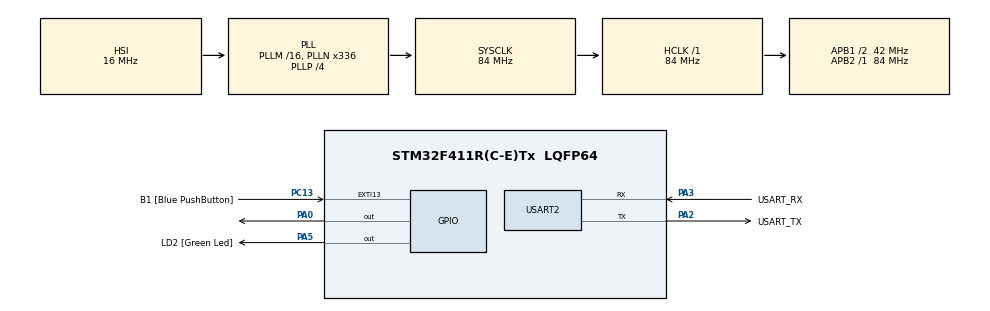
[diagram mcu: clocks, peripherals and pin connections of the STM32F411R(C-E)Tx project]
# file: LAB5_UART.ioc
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Dma.Request0=USART2_RX
Dma.Request1=USART2_TX
Dma.USART2_RX.0.Direction=DMA_PERIPH_TO_MEMORY
Dma.USART2_RX.0.FIFOMode=DMA_FIFOMODE_DISABLE
Dma.USART2_RX.0.Instance=DMA1_Stream5
Dma.USART2_RX.0.MemDataAlignment=DMA_MDATAALIGN_BYTE
Dma.USART2_RX.0.MemInc=DMA_MINC_ENABLE
Dma.USART2_RX.0.Mode=DMA_CIRCULAR
Dma.USART2_RX.0.PeriphDataAlignment=DMA_PDATAALIGN_BYTE
Dma.USART2_RX.0.PeriphInc=DMA_PINC_DISABLE
Dma.USART2_RX.0.Priority=DMA_PRIORITY_LOW
Dma.USART2_TX.1.Direction=DMA_MEMORY_TO_PERIPH
Dma.USART2_TX.1.FIFOMode=DMA_FIFOMODE_DISABLE
Dma.USART2_TX.1.Instance=DMA1_Stream6
Dma.USART2_TX.1.MemDataAlignment=DMA_MDATAALIGN_BYTE
Dma.USART2_TX.1.MemInc=DMA_MINC_ENABLE
Dma.USART2_TX.1.Mode=DMA_NORMAL
Dma.USART2_TX.1.PeriphDataAlignment=DMA_PDATAALIGN_BYTE
Dma.USART2_TX.1.PeriphInc=DMA_PINC_DISABLE
Dma.USART2_TX.1.Priority=DMA_PRIORITY_LOW
Mcu.Family=STM32F4
Mcu.Name=STM32F411R(C-E)Tx
Mcu.Package=LQFP64
NVIC.DMA1_Stream5_IRQn=true\:0\:0\:false\:false\:true\:false\:true\:true
NVIC.DMA1_Stream6_IRQn=true\:0\:0\:false\:false\:true\:false\:true\:true
NVIC.PriorityGroup=NVIC_PRIORITYGROUP_0
NVIC.USART2_IRQn=true\:0\:0\:false\:false\:true\:true\:true\:true
PA0-WKUP.Signal=GPIO_Output
PA13.GPIO_Label=TMS
PA13.Mode=Serial_Wire
PA13.Signal=SYS_JTMS-SWDIO
PA14.GPIO_Label=TCK
PA14.Mode=Serial_Wire
PA14.Signal=SYS_JTCK-SWCLK
PA2.GPIO_Label=USART_TX
PA2.Mode=Asynchronous
PA2.Signal=USART2_TX
PA3.GPIO_Label=USART_RX
PA3.Mode=Asynchronous
PA3.Signal=USART2_RX
PA5.GPIO_Label=LD2 [Green Led]
PA5.Signal=GPIO_Output
PB3.GPIO_Label=SWO
PB3.Signal=SYS_JTDO-SWO
PC13-ANTI_TAMP.GPIO_Label=B1 [Blue PushButton]
PC13-ANTI_TAMP.GPIO_ModeDefaultEXTI=GPIO_MODE_IT_FALLING
PC13-ANTI_TAMP.Signal=GPXTI13
PC14-OSC32_IN.Mode=LSE-External-Oscillator
PC14-OSC32_IN.Signal=RCC_OSC32_IN
PC15-OSC32_OUT.Mode=LSE-External-Oscillator
PC15-OSC32_OUT.Signal=RCC_OSC32_OUT
PH0\ -\ OSC_IN.Mode=HSE-External-Clock-Source
PH0\ -\ OSC_IN.Signal=RCC_OSC_IN
PH1\ -\ OSC_OUT.Mode=HSE-External-Clock-Source
PH1\ -\ OSC_OUT.Signal=RCC_OSC_OUT
ProjectManager.HeapSize=0x200
ProjectManager.StackSize=0x400
ProjectManager.TargetToolchain=STM32CubeIDE
RCC.48MHZClocksFreq_Value=84000000
RCC.AHBFreq_Value=84000000
RCC.APB1CLKDivider=RCC_HCLK_DIV2
RCC.APB1Freq_Value=42000000
RCC.APB1TimFreq_Value=84000000
RCC.APB2Freq_Value=84000000
RCC.APB2TimFreq_Value=84000000
RCC.CortexFreq_Value=84000000
RCC.FLatency-AdvancedSettings=FLASH_LATENCY_2
RCC.HCLKFreq_Value=84000000
RCC.HSE_VALUE=8000000
RCC.HSI_VALUE=16000000
RCC.PLLN=336
RCC.PLLP=RCC_PLLP_DIV4
RCC.SYSCLKFreq_VALUE=84000000
RCC.SYSCLKSource=RCC_SYSCLKSOURCE_PLLCLK
RCC.VCOOutputFreq_Value=336000000
USART2.VirtualMode=VM_ASYNC
board=NUCLEO-F411RE

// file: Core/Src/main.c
/* USER CODE BEGIN Header */
/**
  ******************************************************************************
  * @file           : main.c
  * @brief          : Main program body
  ******************************************************************************
  * @attention
  *
  * Copyright (c) 2023 STMicroelectronics.
  * All rights reserved.
  *
  * This software is licensed under terms that can be found in the LICENSE file
  * in the root directory of this software component.
  * If no LICENSE file comes with this software, it is provided AS-IS.
  *
  ******************************************************************************
  */
/* USER CODE END Header */
#include "main.h"

/* USER CODE BEGIN Includes */
#include "stdio.h"
#include "string.h"
/* USER CODE END Includes */

UART_HandleTypeDef huart2;
DMA_HandleTypeDef hdma_usart2_rx;
DMA_HandleTypeDef hdma_usart2_tx;

/* USER CODE BEGIN PV */
uint8_t current = 1;
uint8_t before = 0;
GPIO_PinState Button1;

uint8_t RxBuffer[1];
uint8_t TxBuffer[200];
uint8_t modecontrol = 'x';
uint8_t checkstate = 1;
uint8_t LEDfrequency = 1;
int a = 0;
int round = 0;
/* USER CODE END PV */

void SystemClock_Config(void);
static void MX_GPIO_Init(void);
static void MX_DMA_Init(void);
static void MX_USART2_UART_Init(void);
/* USER CODE BEGIN PFP */
void CheckRising();
void DummyTask();
void UARTDMAConfig();
void mainmenu();
void detailscase0();
void detailscase1();
void functionstate();
/* USER CODE END PFP */

int main(void)
{

  /* MCU Configuration--------------------------------------------------------*/

  /* Reset of all peripherals, Initializes the Flash interface and the Systick. */
  HAL_Init();

  /* Configure the system clock */
  SystemClock_Config();

  /* Initialize all configured peripherals */
  MX_GPIO_Init();
  MX_DMA_Init();
  MX_USART2_UART_Init();
  /* USER CODE BEGIN 2 */
  Button1 = HAL_GPIO_ReadPin(GPIOC, GPIO_PIN_13);
  UARTDMAConfig();

  /* USER CODE END 2 */

  /* Infinite loop */
  /* USER CODE BEGIN WHILE */
  while (1)
  {
	  DummyTask();
	  functionstate();
	  if(round%2 == 1)
	  {
		  HAL_GPIO_WritePin(LD2_GPIO_Port,LD2_Pin, RESET);
		  RxBuffer[0] = '\0';
//		  sprintf((char*)TxBuffer,"LED OFF %s\r\n", RxBuffer);
//		  HAL_UART_Transmit_DMA(&huart2, TxBuffer, strlen((char*)TxBuffer));
	  }
	  else if(round%2 == 0)
	  {
		  DummyTask();
		  RxBuffer[0] = '\0';
//		  sprintf((char*)TxBuffer,"LED ON %s\r\n", RxBuffer);
//		  HAL_UART_Transmit_DMA(&huart2, TxBuffer, strlen((char*)TxBuffer));
	  }
	  HAL_GPIO_TogglePin(GPIOA, GPIO_PIN_0);

    /* USER CODE END WHILE */

  }
}

void SystemClock_Config(void)
{
  RCC_OscInitTypeDef RCC_OscInitStruct = {0};
  RCC_ClkInitTypeDef RCC_ClkInitStruct = {0};

  /** Configure the main internal regulator output voltage
  */
  __HAL_RCC_PWR_CLK_ENABLE();
  __HAL_PWR_VOLTAGESCALING_CONFIG(PWR_REGULATOR_VOLTAGE_SCALE1);

  /** Initializes the RCC Oscillators according to the specified parameters
  * in the RCC_OscInitTypeDef structure.
  */
  RCC_OscInitStruct.OscillatorType = RCC_OSCILLATORTYPE_HSI;
  RCC_OscInitStruct.HSIState = RCC_HSI_ON;
  RCC_OscInitStruct.HSICalibrationValue = RCC_HSICALIBRATION_DEFAULT;
  RCC_OscInitStruct.PLL.PLLState = RCC_PLL_ON;
  RCC_OscInitStruct.PLL.PLLSource = RCC_PLLSOURCE_HSI;
  RCC_OscInitStruct.PLL.PLLM = 16;
  RCC_OscInitStruct.PLL.PLLN = 336;
  RCC_OscInitStruct.PLL.PLLP = RCC_PLLP_DIV4;
  RCC_OscInitStruct.PLL.PLLQ = 4;
  if (HAL_RCC_OscConfig(&RCC_OscInitStruct) != HAL_OK)
  {
    Error_Handler();
  }

  /** Initializes the CPU, AHB and APB buses clocks
  */
  RCC_ClkInitStruct.ClockType = RCC_CLOCKTYPE_HCLK|RCC_CLOCKTYPE_SYSCLK
                              |RCC_CLOCKTYPE_PCLK1|RCC_CLOCKTYPE_PCLK2;
  RCC_ClkInitStruct.SYSCLKSource = RCC_SYSCLKSOURCE_PLLCLK;
  RCC_ClkInitStruct.AHBCLKDivider = RCC_SYSCLK_DIV1;
  RCC_ClkInitStruct.APB1CLKDivider = RCC_HCLK_DIV2;
  RCC_ClkInitStruct.APB2CLKDivider = RCC_HCLK_DIV1;

  if (HAL_RCC_ClockConfig(&RCC_ClkInitStruct, FLASH_LATENCY_2) != HAL_OK)
  {
    Error_Handler();
  }
}

static void MX_USART2_UART_Init(void)
{

  huart2.Instance = USART2;
  huart2.Init.BaudRate = 115200;
  huart2.Init.WordLength = UART_WORDLENGTH_8B;
  huart2.Init.StopBits = UART_STOPBITS_1;
  huart2.Init.Parity = UART_PARITY_NONE;
  huart2.Init.Mode = UART_MODE_TX_RX;
  huart2.Init.HwFlowCtl = UART_HWCONTROL_NONE;
  huart2.Init.OverSampling = UART_OVERSAMPLING_16;
  if (HAL_UART_Init(&huart2) != HAL_OK)
  {
    Error_Handler();
  }

}

static void MX_DMA_Init(void)
{

  /* DMA controller clock enable */
  __HAL_RCC_DMA1_CLK_ENABLE();

  /* DMA interrupt init */
  /* DMA1_Stream5_IRQn interrupt configuration */
  HAL_NVIC_SetPriority(DMA1_Stream5_IRQn, 0, 0);
  HAL_NVIC_EnableIRQ(DMA1_Stream5_IRQn);
  /* DMA1_Stream6_IRQn interrupt configuration */
  HAL_NVIC_SetPriority(DMA1_Stream6_IRQn, 0, 0);
  HAL_NVIC_EnableIRQ(DMA1_Stream6_IRQn);

}

static void MX_GPIO_Init(void)
{
  GPIO_InitTypeDef GPIO_InitStruct = {0};

  /* GPIO Ports Clock Enable */
  __HAL_RCC_GPIOC_CLK_ENABLE();
  __HAL_RCC_GPIOH_CLK_ENABLE();
  __HAL_RCC_GPIOA_CLK_ENABLE();
  __HAL_RCC_GPIOB_CLK_ENABLE();

  /*Configure GPIO pin Output Level */
  HAL_GPIO_WritePin(GPIOA, GPIO_PIN_0|LD2_Pin, GPIO_PIN_RESET);

  /*Configure GPIO pin : B1_Pin */
  GPIO_InitStruct.Pin = B1_Pin;
  GPIO_InitStruct.Mode = GPIO_MODE_IT_FALLING;
  GPIO_InitStruct.Pull = GPIO_NOPULL;
  HAL_GPIO_Init(B1_GPIO_Port, &GPIO_InitStruct);

  /*Configure GPIO pins : PA0 LD2_Pin */
  GPIO_InitStruct.Pin = GPIO_PIN_0|LD2_Pin;
  GPIO_InitStruct.Mode = GPIO_MODE_OUTPUT_PP;
  GPIO_InitStruct.Pull = GPIO_NOPULL;
  GPIO_InitStruct.Speed = GPIO_SPEED_FREQ_LOW;
  HAL_GPIO_Init(GPIOA, &GPIO_InitStruct);

}

/* USER CODE BEGIN 4 */
void CheckRising()
{
	Button1 = HAL_GPIO_ReadPin(GPIOC, GPIO_PIN_13);
	current = Button1;

	if(before == 0 && current == 1)
	{
		uint8_t text1[] = "Status : UnPressed\r\n";
		HAL_UART_Transmit_DMA(&huart2, text1 , strlen((char*)text1));
		checkstate = 0;
		while(!checkstate)
		{
			HAL_Delay(1);
		}
	}
	else if(current == 0 && before == 1)
	{
		uint8_t text[] = "Status : Pressed\r\n";
		HAL_UART_Transmit_DMA(&huart2, text , strlen((char*)text));
		checkstate = 0;
		while(!checkstate)
		{
			HAL_Delay(1);
		}
	}
	before = current;
	HAL_Delay(1);
}

void mainmenu()
{
	uint8_t textmainmenu[] = 	"Please select the function:\r\n\r\n"
								"Press 0 : LED Control\r\n";
	HAL_UART_Transmit_DMA(&huart2, textmainmenu , strlen((char*)textmainmenu));
	checkstate = 0;
	while(!checkstate)
	{
		HAL_Delay(1);
	}
	uint8_t textmainmenu5[] = 	"---------------------------------------------------------\r\n"
								"Press 1 : Button Status\r\n\r\n";
	HAL_UART_Transmit_DMA(&huart2, textmainmenu5, strlen((char*)textmainmenu5));
	checkstate = 0;
	while(!checkstate)
	{
		HAL_Delay(1);
	}
}
void detailscase0()
{
	uint8_t textmainmenu1[] = 	"---------------------------------------------------------\r\n"
								"Press the Character:\r\n\r\n"
								"a : Speed Up +1Hz\r\n";
	HAL_UART_Transmit_DMA(&huart2, textmainmenu1 , strlen((char*)textmainmenu1));
	checkstate = 0;
	while(!checkstate)
	{
		HAL_Delay(1);
	}
	uint8_t textmainmenu2[] = "s : Speed Down -1Hz\r\n";
	HAL_UART_Transmit_DMA(&huart2, textmainmenu2 , strlen((char*)textmainmenu2));
	checkstate = 0;
	while(!checkstate)
	{
		HAL_Delay(1);
	}
	uint8_t textmainmenu3[] = "d : On/off\r\n";
	HAL_UART_Transmit_DMA(&huart2, textmainmenu3 , strlen((char*)textmainmenu3));
	checkstate = 0;
	while(!checkstate)
	{
		HAL_Delay(1);
	}
	uint8_t textmainmenu4[] = "Press 'x' to go to back menu\r\n"
							  "---------------------------------------------------------\r\n\r\n";
	HAL_UART_Transmit_DMA(&huart2, textmainmenu4 , strlen((char*)textmainmenu4));
	checkstate = 0;
	while(!checkstate)
	{
		HAL_Delay(1);
	}
}
void detailscase1()
{
	uint8_t textmainmenu6[] =	"Press 'x' to go to back menu\r\n";
	HAL_UART_Transmit_DMA(&huart2, textmainmenu6 , strlen((char*)textmainmenu6));
	checkstate = 0;
	while(!checkstate)
	{
		HAL_Delay(1);
	}
	uint8_t textmainmenu7[] = "If Button Press/UnPress Show Button Status:\r\n";
	HAL_UART_Transmit_DMA(&huart2, textmainmenu7 , strlen((char*)textmainmenu7));
	checkstate = 0;
	while(!checkstate)
	{
		HAL_Delay(1);
	}
}

void functionstate()
{
	switch(modecontrol)
	{
	case '0':
		if(RxBuffer[0] == 'a')
		{
			a += 1;
			LEDfrequency += 1;
			RxBuffer[0] = '\0';
			sprintf((char*)TxBuffer,"hz = %d\r\n", a);
			HAL_UART_Transmit_DMA(&huart2, TxBuffer, strlen((char*)TxBuffer));
		}
		else if(RxBuffer[0] == 's')
		{
			LEDfrequency -= 1;
			if(LEDfrequency < 0)
			{
				a -= 1;
				if(a < 0)
				{
					a = 0;
				}
				LEDfrequency -= 1;
				RxBuffer[0] = '\0';
				sprintf((char*)TxBuffer,"hz = %d\r\n", a);
				HAL_UART_Transmit_DMA(&huart2, TxBuffer, strlen((char*)TxBuffer));
			}

		}
		else if(RxBuffer[0] == 'd')
		{
			round += 1;
		}
		else if(RxBuffer[0] == 'x')
		{
			modecontrol = 'x';
		}

		break;
	case '1':
		CheckRising();
		if(RxBuffer[0] == 'x')
		{
			modecontrol = 'x';
		}
		break;
	case 'x':
		mainmenu();
		RxBuffer[0] = '\0';
	default:
		modecontrol = RxBuffer[0];
		if(modecontrol == '1')
		{
			detailscase1();
		}
		else if(modecontrol == '0')
		{
			detailscase0();
		}

	}
	RxBuffer[0]= 0;
}

void DummyTask()
{
	static uint32_t timestamp=0;
	if (HAL_GetTick()>=timestamp)
	{
		timestamp = HAL_GetTick()+(1000/(2.0*LEDfrequency));
		HAL_GPIO_TogglePin(LD2_GPIO_Port,LD2_Pin);
	}
}

void UARTDMAConfig()
{
	//start UART in DMA Mode
	HAL_UART_Receive_DMA(&huart2, RxBuffer, 1);
}
void HAL_UART_RxCpltCallback(UART_HandleTypeDef *huart)
{
	if (huart == &huart2)
	{
		//(for string only) Add string stop symbol \0 to end string
		RxBuffer[1] = '\0';
	}
}
void HAL_UART_TxCpltCallback(UART_HandleTypeDef *huart)
{
	if (huart == &huart2)
		{
		checkstate = 1;
		}
}
/* USER CODE END 4 */

void Error_Handler(void)
{
  __disable_irq();
  while (1)
  {
  }
}
